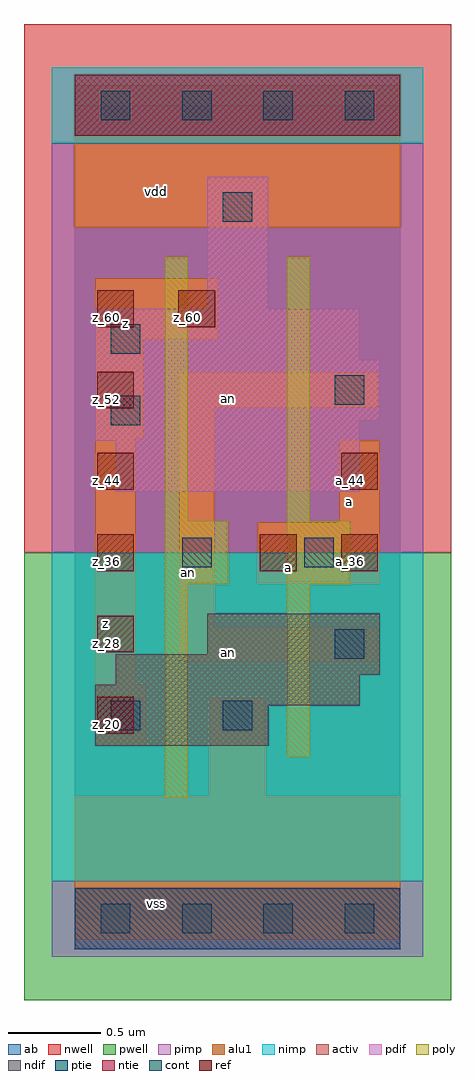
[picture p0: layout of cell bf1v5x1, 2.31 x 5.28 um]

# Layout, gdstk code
import gdstk
lib = gdstk.Library(unit=1e-6, precision=2.5e-09)
def R(c, l, rs):  # rectangles x0, y0, x1, y1
    for r in rs: c.add(gdstk.rectangle(r[:2], r[2:], *l))
def A(c, l, x, y, w, h, nx, ny, dx, dy):  # array of equal rectangles
    R(c, l, [(x+i*dx, y+j*dy, x+i*dx+w, y+j*dy+h) for i in range(nx) for j in range(ny)])
ndif = (3, 0)
pdif = (4, 0)
ntie = (5, 0)
ptie = (6, 0)
ref = (24, 0)
cont = (25, 0)
pwell = (41, 0)
nwell = (42, 0)
activ = (43, 0)
pimp = (44, 0)
nimp = (45, 0)
poly = (46, 0)
alu1 = (49, 0)
ab = (63, 0)

bf1v5x1 = lib.new_cell('bf1v5x1')
R(bf1v5x1, ndif, [(0.11,0.935,1.045,1.155), (0.11,1.155,1.54,1.265), (0.22,1.265,1.54,1.32), (0.22,1.32,1.65,1.43), (0.715,1.43,1.65,1.65)])
R(bf1v5x1, pdif, [(0.22,2.31,1.54,2.585), (0.11,2.585,1.54,2.695), (0.11,2.695,1.65,3.025), (0.11,3.025,1.54,3.3), (0.715,3.3,1.045,4.015)])
R(bf1v5x1, ntie, [(0,4.235,1.76,4.565)])
R(bf1v5x1, ptie, [(0,-0.165,1.76,0.165)])
A(bf1v5x1, ref, 0.12, 1, 0.2, 0.2, 1, 6, 0, 0.44)
R(bf1v5x1, ref, [(1,1.88,1.2,2.08), (1.44,1.88,1.64,2.08), (1.44,2.32,1.64,2.52), (0.56,3.2,0.76,3.4)])
A(bf1v5x1, cont, 0.14, -0.08, 0.16, 0.16, 4, 2, 0.44, 4.4)
R(bf1v5x1, cont, [(0.195,1.02,0.355,1.18), (0.8,1.02,0.96,1.18), (1.405,1.405,1.565,1.565), (0.58,1.9,0.74,2.06), (1.24,1.9,1.4,2.06), (0.195,2.67,0.355,2.83), (1.405,2.78,1.565,2.94), (0.195,3.055,0.355,3.215), (0.8,3.77,0.96,3.93)])
R(bf1v5x1, pwell, [(-0.275,-0.44,2.035,1.98)])
R(bf1v5x1, nwell, [(-0.275,1.98,2.035,4.84)])
R(bf1v5x1, activ, [(0,-0.165,1.76,0.165), (0.11,0.935,1.045,1.155), (0.11,1.155,1.54,1.265), (0.22,1.265,1.54,1.32), (0.22,1.32,1.65,1.43), (0.715,1.43,1.65,1.65), (0.22,2.31,1.54,2.585), (0.11,2.585,1.54,2.695), (0.11,2.695,1.65,3.025), (0.11,3.025,1.54,3.3), (0.715,3.3,1.045,4.015), (0,4.235,1.76,4.565)])
R(bf1v5x1, pimp, [(-0.125,-0.205,1.885,0.205), (-0.125,1.98,1.885,4.195)])
R(bf1v5x1, nimp, [(-0.125,0.205,1.885,1.98), (-0.125,4.195,1.885,4.605)])
R(bf1v5x1, poly, [(0.49,0.655,0.61,1.81), (1.15,0.875,1.27,1.81), (0.49,1.81,0.83,2.15), (1.15,1.81,1.49,2.15), (0.49,2.15,0.61,3.58), (1.15,2.15,1.27,3.58)])
R(bf1v5x1, alu1, [(0,-0.11,1.76,0.66), (0.73,0.66,1.03,1.195), (0.11,0.935,0.385,1.265), (0.11,1.265,0.33,2.6), (0.565,1.39,1.635,1.58), (0.565,1.58,0.755,2.765), (0.99,1.815,1.65,2.145), (1.43,2.145,1.65,2.585), (0.11,2.6,0.37,3.135), (0.565,2.765,1.635,2.955), (0.11,3.135,0.77,3.465), (0,3.74,1.76,4.51)])
R(bf1v5x1, ab, [(0,0,1.76,4.4)])
bf1v5x1.add(gdstk.Label('vss', (0.44,0.0825), layer=49, texttype=0))
bf1v5x1.add(gdstk.Label('an', (0.8325,1.4375), layer=49, texttype=0))
bf1v5x1.add(gdstk.Label('a', (1.155,1.8975), layer=49, texttype=0))
bf1v5x1.add(gdstk.Label('a', (1.485,2.255), layer=49, texttype=0))
bf1v5x1.add(gdstk.Label('an', (0.6125,1.875), layer=49, texttype=0))
bf1v5x1.add(gdstk.Label('z', (0.165,1.5975), layer=49, texttype=0))
bf1v5x1.add(gdstk.Label('an', (0.8325,2.8125), layer=49, texttype=0))
bf1v5x1.add(gdstk.Label('z', (0.275,3.2175), layer=49, texttype=0))
bf1v5x1.add(gdstk.Label('vdd', (0.44,3.9325), layer=49, texttype=0))
bf1v5x1.add(gdstk.Label('z_60', (0.61,3.25), layer=24, texttype=0))
bf1v5x1.add(gdstk.Label('a_36', (1.05,1.93), layer=24, texttype=0))
bf1v5x1.add(gdstk.Label('a_36', (1.49,1.93), layer=24, texttype=0))
bf1v5x1.add(gdstk.Label('a_44', (1.49,2.37), layer=24, texttype=0))
bf1v5x1.add(gdstk.Label('z_20', (0.17,1.05), layer=24, texttype=0))
bf1v5x1.add(gdstk.Label('z_28', (0.17,1.49), layer=24, texttype=0))
bf1v5x1.add(gdstk.Label('z_36', (0.17,1.93), layer=24, texttype=0))
bf1v5x1.add(gdstk.Label('z_44', (0.17,2.37), layer=24, texttype=0))
bf1v5x1.add(gdstk.Label('z_52', (0.17,2.81), layer=24, texttype=0))
bf1v5x1.add(gdstk.Label('z_60', (0.17,3.25), layer=24, texttype=0))

lib.write_gds('bf1v5x1.gds')
